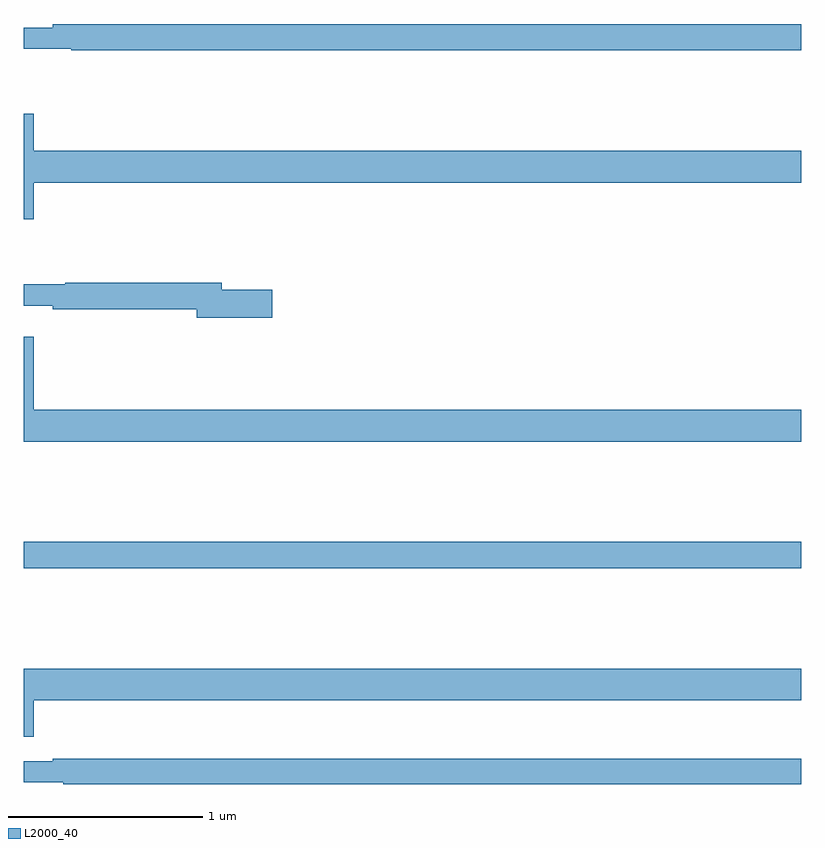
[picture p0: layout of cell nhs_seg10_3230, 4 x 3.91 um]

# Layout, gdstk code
import gdstk
lib = gdstk.Library(unit=1e-6, precision=1e-09)
def R(c, l, rs):  # rectangles x0, y0, x1, y1
    for r in rs: c.add(gdstk.rectangle(r[:2], r[2:], *l))
def P(c, l, *ps):  # polygons
    for p in ps: c.add(gdstk.Polygon(p, *l))
L2000_40 = (2000, 40)

nhs_seg10_3230 = lib.new_cell('nhs_seg10_3230')
R(nhs_seg10_3230, L2000_40, [(285,1323.64,289,1323.776)])
P(nhs_seg10_3230, L2000_40, [(289,1326.44),(285.148,1326.44),(285.148,1326.421),(285,1326.421),(285,1326.312),(285.245,1326.312),(285.245,1326.304),(289,1326.304)],
  [(285.052,1325.624),(289,1325.624),(289,1325.788),(285.052,1325.788),(285.052,1325.977),(285,1325.977),(285,1325.436),(285.052,1325.436)],
  [(286.279,1325.072),(286.018,1325.072),(286.018,1325.108),(285.214,1325.108),(285.214,1325.101),(285,1325.101),(285,1324.991),(285.148,1324.991),(285.148,1324.972),(285.89,1324.972),(285.89,1324.93),(286.279,1324.93)],
  [(289,1324.456),(285.052,1324.456),(285.052,1324.831),(285,1324.831),(285,1324.292),(289,1324.292)],
  [(285.052,1322.96),(289,1322.96),(289,1323.124),(285,1323.124),(285,1322.772),(285.052,1322.772)],
  [(289,1322.659),(285.148,1322.659),(285.148,1322.646),(285,1322.646),(285,1322.538),(285.202,1322.538),(285.202,1322.53),(289,1322.53)])

lib.write_gds('nhs_seg10_3230.gds')
